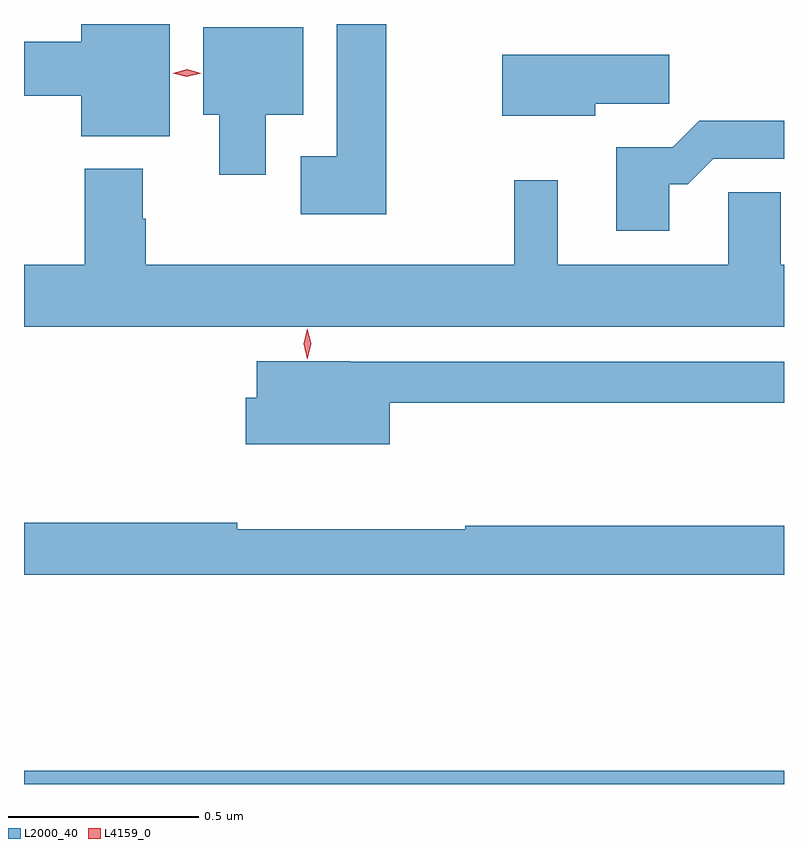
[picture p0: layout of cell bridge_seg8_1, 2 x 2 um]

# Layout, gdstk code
import gdstk
lib = gdstk.Library(unit=1e-6, precision=1e-09)
def R(c, l, rs):  # rectangles x0, y0, x1, y1
    for r in rs: c.add(gdstk.rectangle(r[:2], r[2:], *l))
def P(c, l, *ps):  # polygons
    for p in ps: c.add(gdstk.Polygon(p, *l))
L2000_40 = (2000, 40)
L4159_0 = (4159, 0)

bridge_seg8_1 = lib.new_cell('bridge_seg8_1')
R(bridge_seg8_1, L2000_40, [(957.967,1129.949,959.967,1129.984)])
P(bridge_seg8_1, L2000_40, [(958.351,1131.949),(958.118,1131.949),(958.118,1131.902),(957.967,1131.902),(957.967,1131.76),(958.118,1131.76),(958.118,1131.653),(958.351,1131.653)],
  [(958.92,1131.949),(958.79,1131.949),(958.79,1131.601),(958.695,1131.601),(958.695,1131.449),(958.92,1131.449)],
  [(958.603,1131.71),(958.702,1131.71),(958.702,1131.94),(958.439,1131.94),(958.439,1131.71),(958.481,1131.71),(958.481,1131.552),(958.603,1131.552)],
  [(959.47,1131.739),(959.665,1131.739),(959.665,1131.868),(959.226,1131.868),(959.226,1131.707),(959.47,1131.707)],
  [(959.665,1131.527),(959.714,1131.527),(959.781,1131.594),(959.967,1131.594),(959.967,1131.695),(959.744,1131.695),(959.674,1131.625),(959.525,1131.625),(959.525,1131.405),(959.665,1131.405)],
  [(959.967,1131.316),(959.959,1131.316),(959.959,1131.506),(959.82,1131.506),(959.82,1131.316),(959.371,1131.316),(959.371,1131.538),(959.257,1131.538),(959.257,1131.316),(958.287,1131.316),(958.287,1131.437),(958.279,1131.437),(958.279,1131.568),(958.127,1131.568),(958.127,1131.316),(957.967,1131.316),(957.967,1131.152),(959.967,1131.152)],
  [(958.93,1130.952),(959.967,1130.952),(959.967,1131.06),(958.826,1131.06),(958.826,1131.061),(958.58,1131.061),(958.58,1130.965),(958.55,1130.965),(958.55,1130.843),(958.93,1130.843)],
  [(959.967,1130.629),(959.128,1130.629),(959.128,1130.619),(958.528,1130.619),(958.528,1130.636),(957.967,1130.636),(957.967,1130.5),(959.967,1130.5)])
P(bridge_seg8_1, L4159_0, [(958.713,1131.067),(958.713,1131.067),(958.703,1131.107),(958.713,1131.147),(958.713,1131.147),(958.713,1131.147),(958.723,1131.107),(958.713,1131.067)],
  [(958.395,1131.81),(958.358,1131.82),(958.358,1131.82),(958.358,1131.82),(958.396,1131.83),(958.433,1131.82),(958.433,1131.819),(958.433,1131.819)])

lib.write_gds('bridge_seg8_1.gds')
